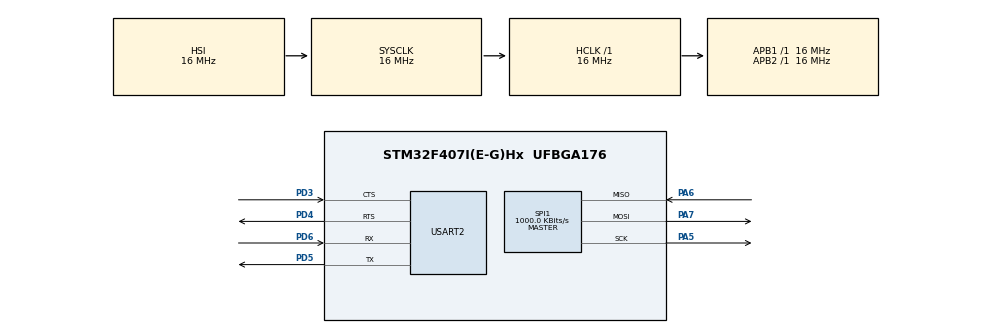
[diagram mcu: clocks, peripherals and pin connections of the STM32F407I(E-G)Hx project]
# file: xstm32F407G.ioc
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Mcu.Family=STM32F4
Mcu.Name=STM32F407I(E-G)Hx
Mcu.Package=UFBGA176
NVIC.PriorityGroup=NVIC_PRIORITYGROUP_4
NVIC.RCC_IRQn=true\:0\:0\:false\:false\:true\:true\:false\:true
NVIC.SPI1_IRQn=true\:0\:0\:false\:false\:true\:true\:true\:true
PA5.Mode=Full_Duplex_Master
PA5.Signal=SPI1_SCK
PA6.Mode=Full_Duplex_Master
PA6.Signal=SPI1_MISO
PA7.Mode=Full_Duplex_Master
PA7.Signal=SPI1_MOSI
PD3.Mode=CTS_RTS
PD3.Signal=USART2_CTS
PD4.Mode=CTS_RTS
PD4.Signal=USART2_RTS
PD5.Mode=Asynchronous
PD5.Signal=USART2_TX
PD6.Mode=Asynchronous
PD6.Signal=USART2_RX
ProjectManager.HeapSize=0x200
ProjectManager.StackSize=0x400
ProjectManager.TargetToolchain=STM32CubeIDE
RCC.48MHZClocksFreq_Value=48000000
RCC.AHBFreq_Value=16000000
RCC.APB1Freq_Value=16000000
RCC.APB1TimFreq_Value=16000000
RCC.APB2Freq_Value=16000000
RCC.APB2TimFreq_Value=16000000
RCC.CortexFreq_Value=16000000
RCC.HCLKFreq_Value=16000000
RCC.HSE_VALUE=25000000
RCC.HSI_VALUE=16000000
RCC.LSE_VALUE=32768
RCC.SYSCLKFreq_VALUE=16000000
RCC.VCOOutputFreq_Value=192000000
SPI1.BaudRatePrescaler=SPI_BAUDRATEPRESCALER_16
SPI1.CLKPhase=SPI_PHASE_1EDGE
SPI1.CLKPolarity=SPI_POLARITY_LOW
SPI1.CRCCalculation=SPI_CRCCALCULATION_DISABLE
SPI1.CalculateBaudRate=1000.0 KBits/s
SPI1.DataSize=SPI_DATASIZE_8BIT
SPI1.Direction=SPI_DIRECTION_2LINES
SPI1.Mode=SPI_MODE_MASTER
SPI1.VirtualType=VM_MASTER
USART2.VirtualMode=VM_ASYNC
board=custom

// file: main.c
/* USER CODE BEGIN Header */
/**
  ******************************************************************************
  * @file           : main.c
  * @brief          : Main program body
  ******************************************************************************
  * @attention
  *
  * Copyright (c) 2025 STMicroelectronics.
  * All rights reserved.
  *
  * This software is licensed under terms that can be found in the LICENSE file
  * in the root directory of this software component.
  * If no LICENSE file comes with this software, it is provided AS-IS.
  *
  ******************************************************************************
  */

/* USER CODE END Header */
#include "main.h"

/* USER CODE BEGIN Includes */
//#include "stm32f4_discovery.h"
#include <string.h>
#include "stm32f4xx_hal.h"
#include "stm32f4_discovery.h"
#include "lis3dsh.h"
#define LIS_CS_PORT   GPIOE
#define LIS_CS_PIN    GPIO_PIN_3
/* Read/Write command */
#define READWRITE_CMD_THUANNT                     ((uint8_t)0x80)
/* Multiple byte read/write command */
#define MULTIPLEBYTE_CMD_THUANNT                  ((uint8_t)0x40)
/* Dummy Byte Send by the SPI Master device in order to generate the Clock to the Slave device */
#define DUMMY_BYTE_THUANNT                        ((uint8_t)0x00)
//thuannt
// Macro điều khiển CS
#define LIS_CS_LOW()   HAL_GPIO_WritePin(LIS_CS_PORT, LIS_CS_PIN, GPIO_PIN_RESET)
#define LIS_CS_HIGH()  HAL_GPIO_WritePin(LIS_CS_PORT, LIS_CS_PIN, GPIO_PIN_SET)
static uint8_t SPIme_WriteRead(uint8_t Byte);
void ACCELERO_me_IO_Read(uint8_t *pBuffer, uint8_t ReadAddr, uint16_t NumByteToRead);
/* USER CODE END Includes */

SPI_HandleTypeDef hspi1;

UART_HandleTypeDef huart2;

/* USER CODE BEGIN PV */
void spi1_flush_rx(void)
{
    volatile uint8_t tmp;

    // Đọc liên tục khi cờ RXNE = 1 (có dữ liệu trong RX buffer)
    while (__HAL_SPI_GET_FLAG(&hspi1, SPI_FLAG_RXNE))
    {
        tmp = SPI1->DR;
    }

    // Clear lỗi Overrun nếu có
    __HAL_SPI_CLEAR_OVRFLAG(&hspi1);

    (void)tmp; // tránh warning "unused variable"
}
#if 0
uint8_t lis302dl_read_reg(uint8_t reg)
{
    uint8_t tx = reg | 0x80 ;   // bit7=1 => Read
    uint8_t rx = 0;
#if 0
    spi1_flush_rx();
#else
#endif
    LIS_CS_LOW();
    HAL_SPI_Transmit(&hspi1, &tx, 1, HAL_MAX_DELAY);
    //HAL_Delay(5);
    HAL_SPI_Receive(&hspi1, &rx, 1, HAL_MAX_DELAY);
    HAL_Delay(5);
    LIS_CS_HIGH();

    return rx;
}
#else

uint8_t lis302dl_read_reg(uint8_t reg)
{
    uint8_t tx[2] = {0};
    uint8_t tx_init[2] = {0};
    uint8_t rx[2] = {0};
    HAL_StatusTypeDef ret;
    GPIO_PinState pin_state;

    tx[0] = reg | 0x80;  // set bit7 = Read
#if 1
    tx[1] = 0x00;        // dummy byte
    spi1_flush_rx();
#else
    tx[1] = 0xff;
#endif

    LIS_CS_LOW();
    pin_state = HAL_GPIO_ReadPin(GPIOE, GPIO_PIN_3);
    if(pin_state != GPIO_PIN_RESET) {
    	HAL_UART_Transmit(&huart2, "Err RESET\r\n", strlen("Err RESET\r\n"), HAL_MAX_DELAY);
    }
    do {
    	//HAL_Delay(500);
    	ret = HAL_SPI_TransmitReceive(&hspi1, tx, rx, 2, HAL_MAX_DELAY);
    	if(ret == HAL_OK) {
    		break;
    	}
    	//HAL_Delay(100);
    } while(1);
    LIS_CS_HIGH();
    pin_state = HAL_GPIO_ReadPin(GPIOE, GPIO_PIN_3);
    if(pin_state != GPIO_PIN_SET) {
    	HAL_UART_Transmit(&huart2, "Err SET\r\n", strlen("Err SET\r\n"), HAL_MAX_DELAY);
    }
    return rx[1]; // byte thứ 2 là dữ liệu từ LIS302DL
}
#endif
uint8_t lis302dl_whoami_check(void)
{
    return lis302dl_read_reg(0x0F);

}

/* USER CODE END PV */

void SystemClock_Config(void);
static void MX_GPIO_Init(void);
static void MX_USART2_UART_Init(void);
static void MX_SPI1_Init(void);
/* USER CODE BEGIN PFP */
#define MSG_ME "Hello back!\n"
static void showled(uint8_t);
/* USER CODE END PFP */

int main(void)
{

  /* MCU Configuration--------------------------------------------------------*/

  /* Reset of all peripherals, Initializes the Flash interface and the Systick. */
  HAL_Init();

  /* Configure the system clock */
  SystemClock_Config();

  /* Initialize all configured peripherals */
  MX_GPIO_Init();
  MX_USART2_UART_Init();
  MX_SPI1_Init();
  /* USER CODE BEGIN 2 */
#if 0
  MX_SPI1_Init();
#else
  SPIx_Init_ext(&hspi1);
#endif
  uint8_t ch[8] = {0};
  uint8_t cmd = 0;
  int count = 0;
  uint8_t str[64];
  HAL_StatusTypeDef err;
  uint8_t ReadAddr = 0x0F;

  LIS3DSH_Init(0xF0);

  ACCELERO_IO_Init();
  ch[0] = ch[1] = 0;
  if(cmd == 'F') {
	  ACCELERO_IO_Read(ch, 0x0F, 1);
  }
  if(cmd == 'D') {
	  ACCELERO_IO_Read(ch, 0x0D, 1);
  }
  if(cmd == 'E') {
	  ACCELERO_IO_Read(ch, 0x0E, 1);
  }
  else {
	  ACCELERO_IO_Read(ch, 0x0F, 1);
  }
  ch[7] = 0x67;
  ACCELERO_IO_Write(ch + 7, 0x20, 1);
  //ACCELERO_IO_Write(ch + 7, 0x22, 1);
  ch[7] = 0x10;
  ACCELERO_IO_Write(ch + 7, 0x24, 1);
  /* USER CODE END 2 */

  /* Infinite loop */
  while (1)
  {

    /* USER CODE BEGIN 3 */
#if 0
	  LIS_CS_LOW();
	  HAL_GPIO_WritePin(LIS_CS_PORT, LIS_CS_PIN, GPIO_PIN_RESET); // kéo LOW
	  GPIO_PinState stt = HAL_GPIO_ReadPin(LIS_CS_PORT, LIS_CS_PIN);
	  if (stt == GPIO_PIN_RESET) {
	      printf("OK");
	  }
	  HAL_Delay(1000);
	  LIS_CS_HIGH();

	  HAL_GPIO_WritePin(LIS_CS_PORT, LIS_CS_PIN, GPIO_PIN_SET); // kéo HIGH
	  stt = HAL_GPIO_ReadPin(LIS_CS_PORT, LIS_CS_PIN);
	  if (stt == GPIO_PIN_SET) {
		  printf("OK");
	  }
	  HAL_Delay(1000);
#else
#if 0
	  err = HAL_UART_Receive(&huart2, &cmd, 1, HAL_MAX_DELAY);
	  if(err) {
		  HAL_Delay(1000);
		  continue;
	  }
#endif
	  //ch = lis302dl_whoami_check();

#if 0
	  ACCELERO_IO_Init();
	  ACCELERO_me_IO_Read(&ch, ReadAddr, 1);
#else

	  //ch[7] = 0x00;
	  //ACCELERO_IO_Read(ch + 7, 0x24, 1);

	  ACCELERO_IO_Read(ch + 1, 0x28, 1);
	  ACCELERO_IO_Read(ch + 2, 0x29, 1);
	  ACCELERO_IO_Read(ch + 3, 0x2A, 1);
	  ACCELERO_IO_Read(ch + 4, 0x2B, 1);
	  ACCELERO_IO_Read(ch + 5, 0x2C, 1);
	  ACCELERO_IO_Read(ch + 6, 0x2D, 1);

#endif
	  memset(str, 0, sizeof(str));
	  snprintf(str, 64,
			  "SPI1 whoami: 0x%X/0x%X, (0x%X, 0x%X, 0x%X, 0x%X, 0x%X, 0x%X,)\r\n",
			  (int)ch[0], (int)ch[7], (int)ch[1], (int)ch[2],
			  (int)ch[3], (int)ch[4], (int)ch[5], (int)ch[6]);
	  HAL_UART_Transmit(&huart2, str, strlen(str), HAL_MAX_DELAY);
	  showled(count++);
	  HAL_Delay(200);

#endif
  }
  /* USER CODE END 3 */
}

void SystemClock_Config(void)
{
  RCC_OscInitTypeDef RCC_OscInitStruct = {0};
  RCC_ClkInitTypeDef RCC_ClkInitStruct = {0};

  /** Configure the main internal regulator output voltage
  */
  __HAL_RCC_PWR_CLK_ENABLE();
  __HAL_PWR_VOLTAGESCALING_CONFIG(PWR_REGULATOR_VOLTAGE_SCALE1);

  /** Initializes the RCC Oscillators according to the specified parameters
  * in the RCC_OscInitTypeDef structure.
  */
  RCC_OscInitStruct.OscillatorType = RCC_OSCILLATORTYPE_HSI;
  RCC_OscInitStruct.HSIState = RCC_HSI_ON;
  RCC_OscInitStruct.HSICalibrationValue = RCC_HSICALIBRATION_DEFAULT;
  RCC_OscInitStruct.PLL.PLLState = RCC_PLL_NONE;
  if (HAL_RCC_OscConfig(&RCC_OscInitStruct) != HAL_OK)
  {
    Error_Handler();
  }

  /** Initializes the CPU, AHB and APB buses clocks
  */
  RCC_ClkInitStruct.ClockType = RCC_CLOCKTYPE_HCLK|RCC_CLOCKTYPE_SYSCLK
                              |RCC_CLOCKTYPE_PCLK1|RCC_CLOCKTYPE_PCLK2;
  RCC_ClkInitStruct.SYSCLKSource = RCC_SYSCLKSOURCE_HSI;
  RCC_ClkInitStruct.AHBCLKDivider = RCC_SYSCLK_DIV1;
  RCC_ClkInitStruct.APB1CLKDivider = RCC_HCLK_DIV1;
  RCC_ClkInitStruct.APB2CLKDivider = RCC_HCLK_DIV1;

  if (HAL_RCC_ClockConfig(&RCC_ClkInitStruct, FLASH_LATENCY_0) != HAL_OK)
  {
    Error_Handler();
  }
}

static void MX_SPI1_Init(void)
{

  /* SPI1 parameter configuration*/
  hspi1.Instance = SPI1;
  hspi1.Init.Mode = SPI_MODE_MASTER;
  hspi1.Init.Direction = SPI_DIRECTION_2LINES;
  hspi1.Init.DataSize = SPI_DATASIZE_8BIT;
  hspi1.Init.CLKPolarity = SPI_POLARITY_LOW;
  hspi1.Init.CLKPhase = SPI_PHASE_1EDGE;
  hspi1.Init.NSS = SPI_NSS_SOFT;
  hspi1.Init.BaudRatePrescaler = SPI_BAUDRATEPRESCALER_16;
  hspi1.Init.FirstBit = SPI_FIRSTBIT_MSB;
  hspi1.Init.TIMode = SPI_TIMODE_DISABLE;
  hspi1.Init.CRCCalculation = SPI_CRCCALCULATION_DISABLE;
  hspi1.Init.CRCPolynomial = 10;
  if (HAL_SPI_Init(&hspi1) != HAL_OK)
  {
    Error_Handler();
  }

}

static void MX_USART2_UART_Init(void)
{

  huart2.Instance = USART2;
  huart2.Init.BaudRate = 115200;
  huart2.Init.WordLength = UART_WORDLENGTH_8B;
  huart2.Init.StopBits = UART_STOPBITS_1;
  huart2.Init.Parity = UART_PARITY_NONE;
  huart2.Init.Mode = UART_MODE_TX_RX;
  huart2.Init.HwFlowCtl = UART_HWCONTROL_RTS_CTS;
  huart2.Init.OverSampling = UART_OVERSAMPLING_16;
  if (HAL_UART_Init(&huart2) != HAL_OK)
  {
    Error_Handler();
  }

}

static void MX_GPIO_Init(void)
{

  /* GPIO Ports Clock Enable */
  __HAL_RCC_GPIOD_CLK_ENABLE();
  __HAL_RCC_GPIOA_CLK_ENABLE();

  /* USER CODE BEGIN MX_GPIO_Init_2 */

#if 1

  GPIO_InitTypeDef GPIO_InitStruct = {0};
#if 1
  __HAL_RCC_GPIOE_CLK_ENABLE();
  ACCELERO_CS_GPIO_CLK_ENABLE();

  GPIO_InitStruct.Pin = GPIO_PIN_3;
  GPIO_InitStruct.Mode = GPIO_MODE_OUTPUT_PP;   // phải là OUTPUT_PP
  GPIO_InitStruct.Pull = GPIO_NOPULL;
  GPIO_InitStruct.Speed = GPIO_SPEED_MEDIUM;
  HAL_GPIO_Init(GPIOE, &GPIO_InitStruct);

  HAL_GPIO_WritePin(GPIOE, GPIO_PIN_3, GPIO_PIN_SET); // mặc định HIGH
#endif
  // ---- Cấu hình LED3–6 (PD12,13,14,15) ----
  __HAL_RCC_GPIOD_CLK_ENABLE();

  GPIO_InitStruct.Pin = GPIO_PIN_12 | GPIO_PIN_13 | GPIO_PIN_14 | GPIO_PIN_15 ;
  GPIO_InitStruct.Mode = GPIO_MODE_OUTPUT_PP;
  GPIO_InitStruct.Pull = GPIO_NOPULL;
  GPIO_InitStruct.Speed = GPIO_SPEED_MEDIUM;
  HAL_GPIO_Init(GPIOD, &GPIO_InitStruct);

  // Bật tất cả LED (set HIGH)
  HAL_GPIO_WritePin(GPIOD, GPIO_PIN_12 | GPIO_PIN_13 | GPIO_PIN_14 | GPIO_PIN_15, GPIO_PIN_SET);
#endif

#if 0
  GPIO_InitStruct.Pin = GPIO_PIN_3;
  GPIO_InitStruct.Mode = GPIO_MODE_OUTPUT_PP;   // phải là OUTPUT_PP
  GPIO_InitStruct.Pull = GPIO_NOPULL;
  GPIO_InitStruct.Speed = GPIO_SPEED_FREQ_VERY_HIGH;
  HAL_GPIO_Init(GPIOE, &GPIO_InitStruct);

  HAL_GPIO_WritePin(GPIOE, GPIO_PIN_3, GPIO_PIN_SET); // mặc định HIGH
#endif

  /* USER CODE END MX_GPIO_Init_2 */
}

/* USER CODE BEGIN 4 */
static uint8_t SPIme_WriteRead(uint8_t Byte)
{
  uint8_t receivedbyte = 0;

  /* Send a Byte through the SPI peripheral */
  /* Read byte from the SPI bus */
  if(HAL_SPI_TransmitReceive(&hspi1, (uint8_t*) &Byte, (uint8_t*) &receivedbyte, 1, 100) != HAL_OK)
  {
    //SPIx_Error();
  }

  return receivedbyte;
}
void ACCELERO_me_IO_Read(uint8_t *pBuffer, uint8_t ReadAddr, uint16_t NumByteToRead)
{
  if(NumByteToRead > 0x01)
  {
    ReadAddr |= (uint8_t)(READWRITE_CMD_THUANNT | MULTIPLEBYTE_CMD_THUANNT);
  }
  else
  {
    ReadAddr |= (uint8_t)READWRITE_CMD_THUANNT;
  }
  /* Set chip select Low at the start of the transmission */
  LIS_CS_LOW();

  /* Send the Address of the indexed register */
  SPIme_WriteRead(ReadAddr);

  /* Receive the data that will be read from the device (MSB First) */
  while(NumByteToRead > 0x00)
  {
    /* Send dummy byte (0x00) to generate the SPI clock to ACCELEROMETER (Slave device) */
    *pBuffer = SPIme_WriteRead(DUMMY_BYTE_THUANNT);
    NumByteToRead--;
    pBuffer++;
  }

  /* Set chip select High at the end of the transmission */
  LIS_CS_HIGH();
}
void showled(uint8_t i) {
	HAL_GPIO_WritePin(GPIOD, GPIO_PIN_12 | GPIO_PIN_13 | GPIO_PIN_14 | GPIO_PIN_15, GPIO_PIN_RESET);
	switch (i%4) {
		case 0:
			HAL_GPIO_WritePin(GPIOD, GPIO_PIN_12, GPIO_PIN_SET);
			break;
		case 1:
			HAL_GPIO_WritePin(GPIOD, GPIO_PIN_13, GPIO_PIN_SET);
			break;
		case 2:
			HAL_GPIO_WritePin(GPIOD, GPIO_PIN_14, GPIO_PIN_SET);
			break;
		case 3:
			HAL_GPIO_WritePin(GPIOD, GPIO_PIN_15, GPIO_PIN_SET);
			break;
		default:
			break;
	}
}
/* USER CODE END 4 */

void Error_Handler(void)
{
  __disable_irq();
  while (1)
  {
  }
}
